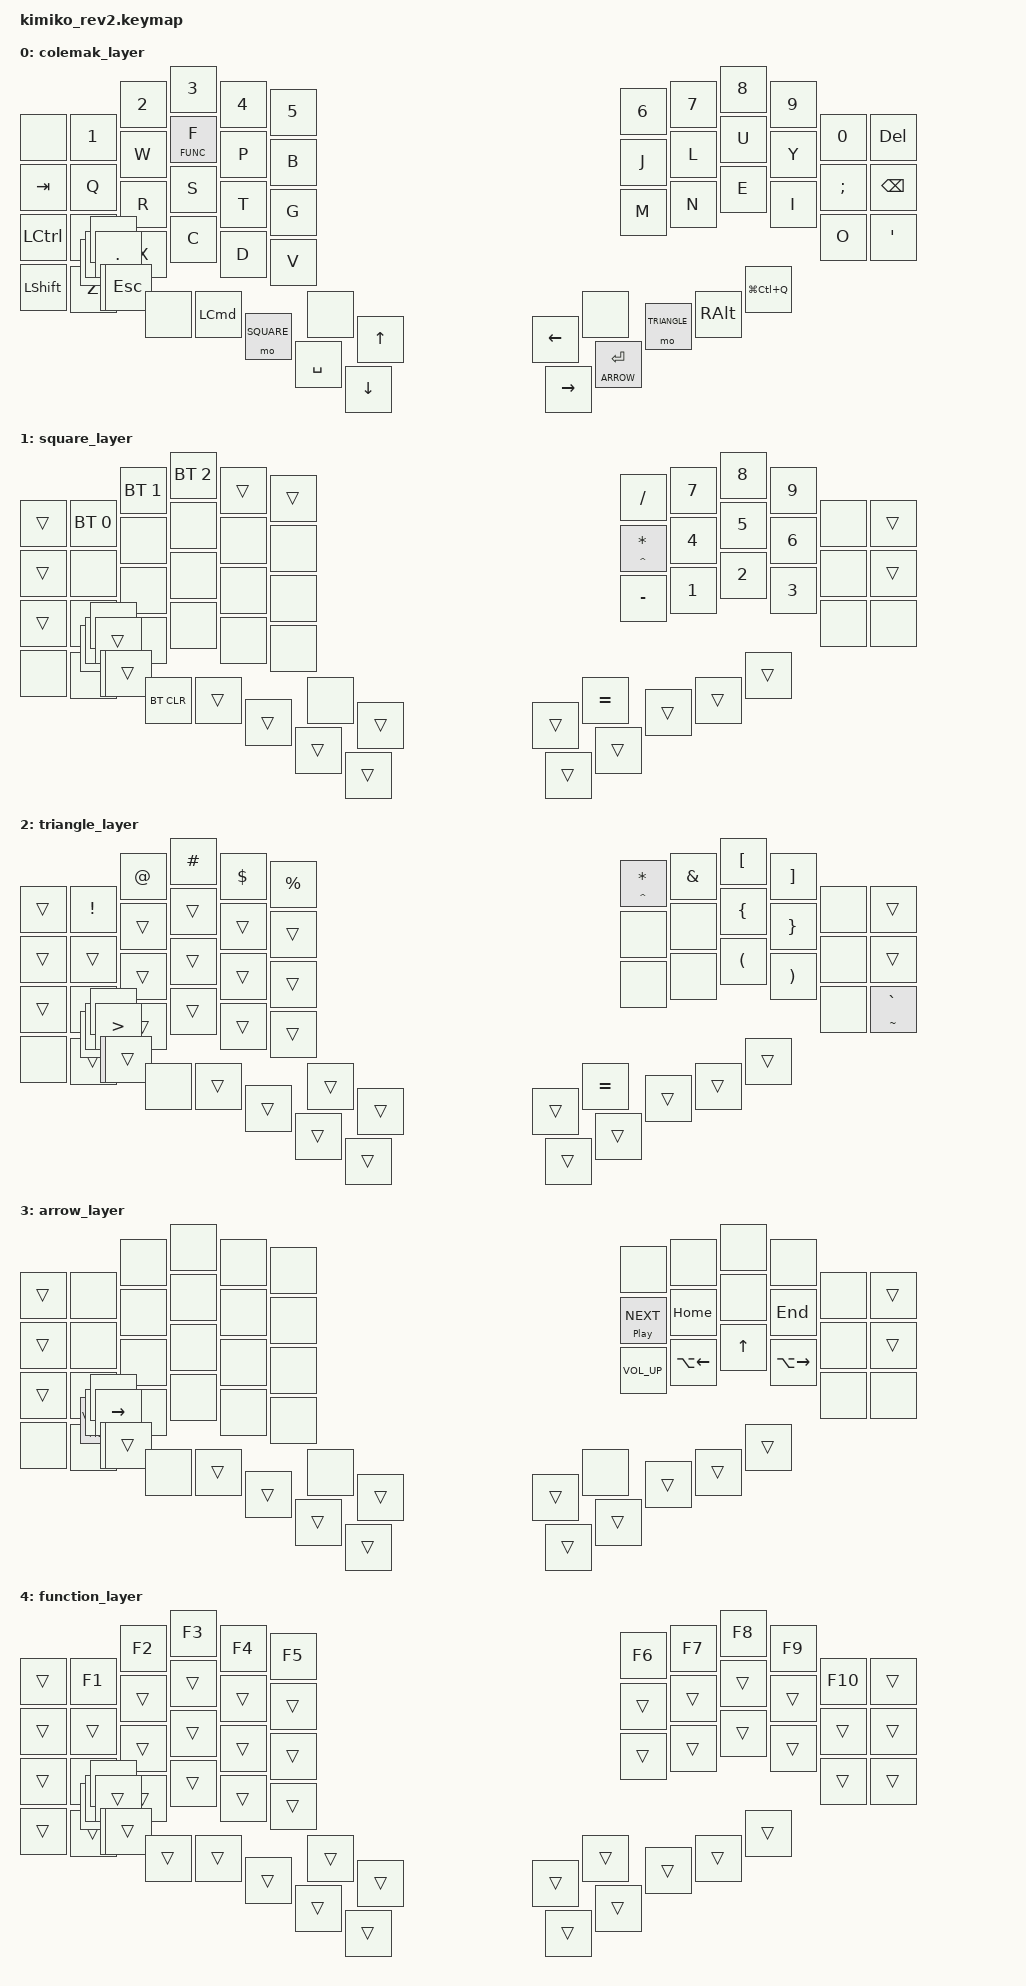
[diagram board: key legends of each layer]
/*
 * Copyright (c) 2020 The ZMK Contributors
 *
 * SPDX-License-Identifier: MIT
 */

#define DEFAULT	 0
#define SQUARE	 1
#define TRIANGLE 2
#define ARROW 	 3
#define FUNC	 4

#define XXX &none
#define ___ &trans

#include <behaviors.dtsi>
#include <behaviors/num_word.dtsi>

#include <dt-bindings/zmk/keys.h>
#include <dt-bindings/zmk/bt.h>

/ {
	behaviors {
		ht_tp: ht_tp {
			compatible = "zmk,behavior-hold-tap";
			#binding-cells = <2>;
			tapping-term-ms = <250>;
			quick-tap-ms = <0>;
			require-prior-idle-ms = <125>;
			flavor = "tap-preferred";
			bindings = <&kp>, <&kp>;
		};
	};
	keymap {
		compatible = "zmk,keymap";
		colemak_layer {
			bindings = <
//				╭─────────────┬─────────────┬─────────────┬─────────────┬─────────────┬─────────────╮                                                                 ╭─────────────┬─────────────┬─────────────┬─────────────┬─────────────┬─────────────╮
				 XXX           &kp N1        &kp N2        &kp N3        &kp N4        &kp N5                                                                          &kp N6        &kp N7        &kp N8        &kp N9        &kp N0        &kp DEL
//				├─────────────┼─────────────┼─────────────┼─────────────┼─────────────┼─────────────┤                                                                 ├─────────────┼─────────────┼─────────────┼─────────────┼─────────────┼─────────────┤
				 &kp TAB       &kp Q         &kp W         &lt FUNC F    &kp P         &kp B                                                                           &kp J         &kp L         &kp U         &kp Y         &kp SEMICOLON &kp BSPC
//				├─────────────┼─────────────┼─────────────┼─────────────┼─────────────┼─────────────┤                                                                 ├─────────────┼─────────────┼─────────────┼─────────────┼─────────────┼─────────────┤
				 &kp LCTRL     &kp A         &kp R         &kp S         &kp T         &kp G                                                                           &kp M         &kp N         &kp E         &kp I         &kp O         &kp SQT
//				├─────────────┼─────────────┼─────────────┼─────────────┼─────────────┼─────────────┼─────────────┬─────────────╮         ╭─────────────┬─────────────┼─────────────┼─────────────┼─────────────┼─────────────┼─────────────┼─────────────┤
				 &kp LSHFT     &kp Z         &kp X         &kp C         &kp D         &kp V         XXX           &kp UP                  &kp LEFT      XXX           &kp K         &kp H         &kp COMMA     &kp DOT       &kp SLASH     &kp ESC
//				╰─────────────┴─────────────┴─────────────┼─────────────┼─────────────┼─────────────┼─────────────┼─────────────┤         ├─────────────┼─────────────┼─────────────┼─────────────┼─────────────┼─────────────┴─────────────┴─────────────╯
				                                           XXX           &kp LCMD      &mo SQUARE    &kp SPACE     &kp DOWN                &kp RIGHT     &lt ARROW RET &mo TRIANGLE  &kp RALT      &kp LG(LC(Q))
//				                                          ╰─────────────┴─────────────┴─────────────┴─────────────┴─────────────╯         ╰─────────────┴─────────────┴─────────────┴─────────────┴─────────────╯
			>;
		};

		square_layer {
			bindings = <
//				╭─────────────┬─────────────┬─────────────┬─────────────┬─────────────┬─────────────╮                                                                 ╭─────────────┬─────────────┬─────────────┬─────────────┬─────────────┬─────────────╮
				 ___           &bt BT_SEL 0  &bt BT_SEL 1  &bt BT_SEL 2  ___           ___                                                                             &kp SLASH     &kp N7        &kp N8        &kp N9        XXX           ___
//				├─────────────┼─────────────┼─────────────┼─────────────┼─────────────┼─────────────┤                                                                 ├─────────────┼─────────────┼─────────────┼─────────────┼─────────────┼─────────────┤
				 ___           XXX           XXX           XXX           XXX           XXX                                                                             &mt CARET ASTRK &kp N4      &kp N5        &kp N6        XXX           ___
//				├─────────────┼─────────────┼─────────────┼─────────────┼─────────────┼─────────────┤                                                                 ├─────────────┼─────────────┼─────────────┼─────────────┼─────────────┼─────────────┤
				 ___           XXX           XXX           XXX           XXX           XXX                                                                             &kp MINUS     &kp N1        &kp N2        &kp N3        XXX           XXX
//				├─────────────┼─────────────┼─────────────┼─────────────┼─────────────┼─────────────┼─────────────┬─────────────╮         ╭─────────────┬─────────────┼─────────────┼─────────────┼─────────────┼─────────────┼─────────────┼─────────────┤
				 XXX           XXX           XXX           XXX           XXX           XXX           XXX           ___                     ___           &kp EQUAL     &kp PLUS      &kp N0        ___           ___           ___           ___
//				╰─────────────┴─────────────┴─────────────┼─────────────┼─────────────┼─────────────┼─────────────┼─────────────┤         ├─────────────┼─────────────┼─────────────┼─────────────┼─────────────┼─────────────┴─────────────┴─────────────╯
				                                           &bt BT_CLR    ___           ___           ___           ___                     ___           ___           ___           ___           ___
//				                                          ╰─────────────┴─────────────┴─────────────┴─────────────┴─────────────╯         ╰─────────────┴─────────────┴─────────────┴─────────────┴─────────────╯
			>;
		};
				triangle_layer {
			bindings = <
//				╭─────────────┬─────────────┬─────────────┬─────────────┬─────────────┬─────────────╮                                                                 ╭─────────────┬─────────────┬─────────────┬─────────────┬─────────────┬─────────────╮
				 ___           &kp EXCL      &kp AT        &kp HASH      &kp DLLR      &kp PRCNT                                                                       &mt CARET ASTRK &kp AMPS    &kp LBKT      &kp RBKT      XXX           ___
//				├─────────────┼─────────────┼─────────────┼─────────────┼─────────────┼─────────────┤                                                                 ├─────────────┼─────────────┼─────────────┼─────────────┼─────────────┼─────────────┤
				 ___           ___           ___           ___           ___           ___                                                                             XXX           XXX           &kp LBRC      &kp RBRC      XXX           ___
//				├─────────────┼─────────────┼─────────────┼─────────────┼─────────────┼─────────────┤                                                                 ├─────────────┼─────────────┼─────────────┼─────────────┼─────────────┼─────────────┤
				 ___           ___           ___           ___           ___           ___                                                                             XXX           XXX           &kp LPAR      &kp RPAR      XXX           &mt TILDE GRAVE
//				├─────────────┼─────────────┼─────────────┼─────────────┼─────────────┼─────────────┼─────────────┬─────────────╮         ╭─────────────┬─────────────┼─────────────┼─────────────┼─────────────┼─────────────┼─────────────┼─────────────┤
				 XXX           ___           ___           ___           ___           ___           ___           ___                     ___           &kp EQUAL     &kp UNDER     XXX           &kp LT        &kp GT        &mt PIPE BSLH ___
//				╰─────────────┴─────────────┴─────────────┼─────────────┼─────────────┼─────────────┼─────────────┼─────────────┤         ├─────────────┼─────────────┼─────────────┼─────────────┼─────────────┼─────────────┴─────────────┴─────────────╯
				                                           XXX           ___           ___           ___           ___                     ___           ___           ___           ___           ___
//				                                          ╰─────────────┴─────────────┴─────────────┴─────────────┴─────────────╯         ╰─────────────┴─────────────┴─────────────┴─────────────┴─────────────╯
			>;
		};

		arrow_layer {
			bindings = <
//				╭─────────────┬─────────────┬─────────────┬─────────────┬─────────────┬─────────────╮                                                                 ╭─────────────┬─────────────┬─────────────┬─────────────┬─────────────┬─────────────╮
				 ___           XXX           XXX           XXX           XXX           XXX                                                                             XXX           XXX           XXX           XXX           XXX           ___
//				├─────────────┼─────────────┼─────────────┼─────────────┼─────────────┼─────────────┤                                                                 ├─────────────┼─────────────┼─────────────┼─────────────┼─────────────┼─────────────┤
				 ___           XXX           XXX           XXX           XXX           XXX                                                                             &mt C_PP C_NEXT &kp HOME    XXX           &kp END       XXX           ___
//				├─────────────┼─────────────┼─────────────┼─────────────┼─────────────┼─────────────┤                                                                 ├─────────────┼─────────────┼─────────────┼─────────────┼─────────────┼─────────────┤
				 ___           XXX           XXX           XXX           XXX           XXX                                                                             &kp C_VOL_UP  &kp LA(LEFT)  &kp UP        &kp LA(RIGHT) XXX           XXX
//				├─────────────┼─────────────┼─────────────┼─────────────┼─────────────┼─────────────┼─────────────┬─────────────╮         ╭─────────────┬─────────────┼─────────────┼─────────────┼─────────────┼─────────────┼─────────────┼─────────────┤
				 XXX           XXX           XXX           XXX           XXX           XXX           XXX           ___                     ___           XXX           &mt C_MUTE C_VOL_DN &kp LEFT &kp DOWN  &kp RIGHT     XXX           ___
//				╰─────────────┴─────────────┴─────────────┼─────────────┼─────────────┼─────────────┼─────────────┼─────────────┤         ├─────────────┼─────────────┼─────────────┼─────────────┼─────────────┼─────────────┴─────────────┴─────────────╯
				                                           XXX           ___           ___           ___           ___                     ___           ___           ___           ___           ___
//				                                          ╰─────────────┴─────────────┴─────────────┴─────────────┴─────────────╯         ╰─────────────┴─────────────┴─────────────┴─────────────┴─────────────╯
			>;
		};

		function_layer {
			bindings = <
//				╭─────────────┬─────────────┬─────────────┬─────────────┬─────────────┬─────────────╮                                                                 ╭─────────────┬─────────────┬─────────────┬─────────────┬─────────────┬─────────────╮
				 ___           &kp F1        &kp F2        &kp F3        &kp F4        &kp F5                                                                          &kp F6        &kp F7        &kp F8        &kp F9        &kp F10       ___
//				├─────────────┼─────────────┼─────────────┼─────────────┼─────────────┼─────────────┤                                                                 ├─────────────┼─────────────┼─────────────┼─────────────┼─────────────┼─────────────┤
				 ___           ___           ___           ___           ___           ___                                                                             ___           ___           ___           ___           ___           ___
//				├─────────────┼─────────────┼─────────────┼─────────────┼─────────────┼─────────────┤                                                                 ├─────────────┼─────────────┼─────────────┼─────────────┼─────────────┼─────────────┤
				 ___           ___           ___           ___           ___           ___                                                                             ___           ___           ___           ___           ___           ___
//				├─────────────┼─────────────┼─────────────┼─────────────┼─────────────┼─────────────┼─────────────┬─────────────╮         ╭─────────────┬─────────────┼─────────────┼─────────────┼─────────────┼─────────────┼─────────────┼─────────────┤
				 ___           ___           ___           ___           ___           ___           ___           ___                     ___           ___           ___           ___           ___           ___           ___           ___
//				╰─────────────┴─────────────┴─────────────┼─────────────┼─────────────┼─────────────┼─────────────┼─────────────┤         ├─────────────┼─────────────┼─────────────┼─────────────┼─────────────┼─────────────┴─────────────┴─────────────╯
				                                           ___           ___           ___           ___           ___                     ___           ___           ___           ___           ___
//				                                          ╰─────────────┴─────────────┴─────────────┴─────────────┴─────────────╯         ╰─────────────┴─────────────┴─────────────┴─────────────┴─────────────╯
			>;
		};
	};
};
